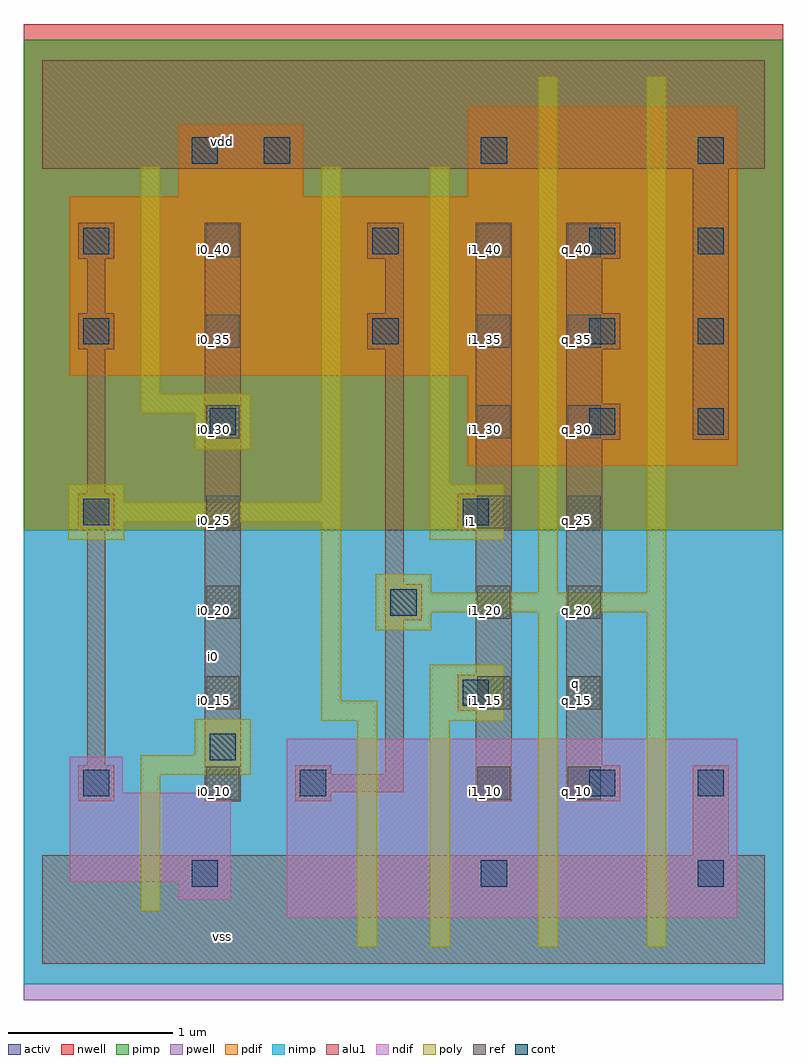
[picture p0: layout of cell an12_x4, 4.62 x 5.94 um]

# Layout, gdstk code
import gdstk
lib = gdstk.Library(unit=1e-6, precision=2.5e-09)
def R(c, l, rs):  # rectangles x0, y0, x1, y1
    for r in rs: c.add(gdstk.rectangle(r[:2], r[2:], *l))
def A(c, l, x, y, w, h, nx, ny, dx, dy):  # array of equal rectangles
    R(c, l, [(x+i*dx, y+j*dy, x+i*dx+w, y+j*dy+h) for i in range(nx) for j in range(ny)])
ndif = (3, 0)
pdif = (4, 0)
ref = (24, 0)
cont = (25, 0)
pwell = (41, 0)
nwell = (42, 0)
activ = (43, 0)
pimp = (44, 0)
nimp = (45, 0)
poly = (46, 0)
alu1 = (49, 0)

an12_x4 = lib.new_cell('an12_x4')
R(an12_x4, ndif, [(1.49,0.28,4.23,1.37), (1.49,0.28,4.23,1.37), (0.83,0.39,1.15,0.5), (0.83,0.39,1.15,0.5), (0.17,0.5,1.15,1.04), (0.17,0.5,1.15,1.04), (0.17,1.04,0.49,1.26), (0.17,1.04,0.49,1.26)])
R(an12_x4, pdif, [(2.59,3.03,4.23,3.58), (2.59,3.03,4.23,3.58), (0.17,3.58,4.23,4.67), (0.17,3.58,4.23,4.67), (0.83,4.67,1.59,5.11), (0.83,4.67,1.59,5.11), (2.59,4.67,4.23,5.22), (2.59,4.67,4.23,5.22)])
A(an12_x4, ref, 1, 1, 0.2, 0.2, 1, 7, 0, 0.55)
A(an12_x4, ref, 2.65, 1, 0.2, 0.2, 1, 7, 0, 0.55)
A(an12_x4, ref, 3.2, 1, 0.2, 0.2, 1, 7, 0, 0.55)
A(an12_x4, cont, 3.33, 3.22, 0.16, 0.16, 1, 3, 0, 0.55)
A(an12_x4, cont, 3.99, 3.22, 0.16, 0.16, 1, 3, 0, 0.55)
A(an12_x4, cont, 1.35, 4.87, 0.16, 0.16, 3, 1, 1.32, 0)
R(an12_x4, cont, [(0.91,0.47,1.07,0.63), (2.67,0.47,2.83,0.63), (3.99,0.47,4.15,0.63), (0.25,1.02,0.41,1.18), (1.57,1.02,1.73,1.18), (3.33,1.02,3.49,1.18), (3.99,1.02,4.15,1.18), (1.02,1.24,1.18,1.4), (2.56,1.57,2.72,1.73), (2.12,2.12,2.28,2.28), (0.25,2.67,0.41,2.83), (2.56,2.67,2.72,2.83), (1.02,3.22,1.18,3.38), (0.25,3.77,0.41,3.93), (2.01,3.77,2.17,3.93), (0.25,4.32,0.41,4.48), (2.01,4.32,2.17,4.48), (0.91,4.87,1.07,5.03)])
R(an12_x4, pwell, [(-0.11,-0.22,4.51,2.64)])
R(an12_x4, nwell, [(-0.11,2.64,4.51,5.72)])
R(an12_x4, activ, [(1.49,0.28,4.23,1.37), (1.49,0.28,4.23,1.37), (0.83,0.39,1.15,0.5), (0.83,0.39,1.15,0.5), (0.17,0.5,1.15,1.04), (0.17,0.5,1.15,1.04), (0.17,1.04,0.49,1.26), (0.17,1.04,0.49,1.26), (2.59,3.03,4.23,3.58), (2.59,3.03,4.23,3.58), (0.17,3.58,4.23,4.67), (0.17,3.58,4.23,4.67), (0.83,4.67,1.59,5.11), (0.83,4.67,1.59,5.11), (2.59,4.67,4.23,5.22), (2.59,4.67,4.23,5.22)])
R(an12_x4, pimp, [(-0.11,2.64,4.51,5.625)])
R(an12_x4, nimp, [(-0.11,-0.125,4.51,2.64)])
R(an12_x4, poly, [(1.92,0.1,2.04,1.48), (2.36,0.1,2.48,1.48), (3.02,0.1,3.14,2.14), (3.68,0.1,3.8,2.14), (0.6,0.32,0.72,1.15), (0.6,1.15,1.27,1.27), (0.93,1.27,1.27,1.49), (1.7,1.48,2.04,1.6), (2.36,1.48,2.81,1.82), (1.7,1.6,1.82,2.69), (2.03,2.03,2.37,2.14), (2.03,2.14,3.8,2.26), (2.03,2.26,2.37,2.37), (3.02,2.26,3.14,5.4), (3.68,2.26,3.8,5.4), (0.16,2.58,0.5,2.69), (2.36,2.58,2.81,2.92), (0.16,2.69,1.82,2.81), (0.16,2.81,0.5,2.92), (1.7,2.81,1.82,4.85), (2.36,2.92,2.48,4.85), (0.93,3.13,1.27,3.35), (0.6,3.35,1.27,3.47), (0.6,3.47,0.72,4.85)])
A(an12_x4, alu1, 3.19, 3.19, 0.33, 0.22, 1, 3, 0, 0.55)
R(an12_x4, alu1, [(0,0,4.4,0.66), (3.96,0.66,4.18,1.21), (0.22,0.99,0.44,1.21), (0.99,0.99,1.21,4.51), (1.54,0.99,1.76,1.045), (2.64,0.99,2.86,1.54), (3.19,0.99,3.52,1.21), (1.54,1.045,2.2,1.155), (1.54,1.155,1.76,1.21), (2.09,1.155,2.2,2.09), (0.275,1.21,0.385,2.64), (3.19,1.21,3.41,3.19), (2.53,1.54,2.86,1.76), (2.64,1.76,2.86,2.64), (2.09,2.09,2.31,2.31), (2.09,2.31,2.2,3.74), (0.22,2.64,0.44,2.86), (2.53,2.64,2.86,2.86), (0.275,2.86,0.385,3.74), (2.64,2.86,2.86,4.51), (3.96,3.19,4.18,4.84), (3.19,3.41,3.41,3.74), (0.22,3.74,0.44,3.96), (1.98,3.74,2.2,3.96), (0.275,3.96,0.385,4.29), (2.09,3.96,2.2,4.29), (3.19,3.96,3.41,4.29), (0.22,4.29,0.44,4.51), (1.98,4.29,2.2,4.51), (0,4.84,4.4,5.5)])
an12_x4.add(gdstk.Label('vss', (1.1,0.165), layer=49, texttype=0))
an12_x4.add(gdstk.Label('q', (3.245,1.705), layer=49, texttype=0))
an12_x4.add(gdstk.Label('i1', (2.6125,2.695), layer=49, texttype=0))
an12_x4.add(gdstk.Label('i0', (1.045,1.87), layer=49, texttype=0))
an12_x4.add(gdstk.Label('vdd', (1.1,5.005), layer=49, texttype=0))
an12_x4.add(gdstk.Label('i1_15', (2.7,1.6), layer=24, texttype=0))
an12_x4.add(gdstk.Label('i1_20', (2.7,2.15), layer=24, texttype=0))
an12_x4.add(gdstk.Label('i1_25', (2.7,2.7), layer=24, texttype=0))
an12_x4.add(gdstk.Label('i1_30', (2.7,3.25), layer=24, texttype=0))
an12_x4.add(gdstk.Label('i1_35', (2.7,3.8), layer=24, texttype=0))
an12_x4.add(gdstk.Label('i1_40', (2.7,4.35), layer=24, texttype=0))
an12_x4.add(gdstk.Label('q_40', (3.25,4.35), layer=24, texttype=0))
an12_x4.add(gdstk.Label('q_35', (3.25,3.8), layer=24, texttype=0))
an12_x4.add(gdstk.Label('q_30', (3.25,3.25), layer=24, texttype=0))
an12_x4.add(gdstk.Label('q_25', (3.25,2.7), layer=24, texttype=0))
an12_x4.add(gdstk.Label('q_20', (3.25,2.15), layer=24, texttype=0))
an12_x4.add(gdstk.Label('q_15', (3.25,1.6), layer=24, texttype=0))
an12_x4.add(gdstk.Label('q_10', (3.25,1.05), layer=24, texttype=0))
an12_x4.add(gdstk.Label('i1_10', (2.7,1.05), layer=24, texttype=0))
an12_x4.add(gdstk.Label('i0_15', (1.05,1.6), layer=24, texttype=0))
an12_x4.add(gdstk.Label('i0_30', (1.05,3.25), layer=24, texttype=0))
an12_x4.add(gdstk.Label('i0_35', (1.05,3.8), layer=24, texttype=0))
an12_x4.add(gdstk.Label('i0_20', (1.05,2.15), layer=24, texttype=0))
an12_x4.add(gdstk.Label('i0_25', (1.05,2.7), layer=24, texttype=0))
an12_x4.add(gdstk.Label('i0_10', (1.05,1.05), layer=24, texttype=0))
an12_x4.add(gdstk.Label('i0_40', (1.05,4.35), layer=24, texttype=0))

lib.write_gds('an12_x4.gds')
